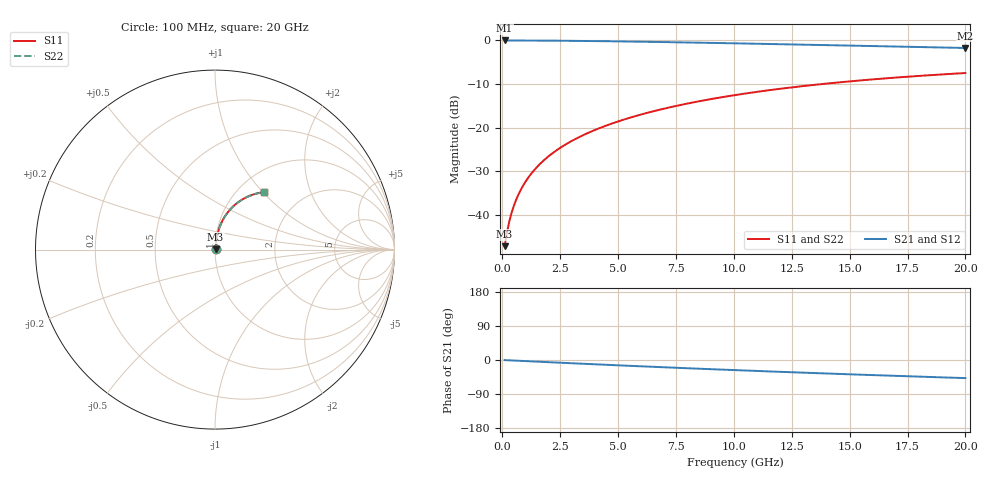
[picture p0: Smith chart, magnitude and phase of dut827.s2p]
! Touchstone file exported from HFSS 2024.1.0
!  File:  C:/UserFiles/LocalFiles/RDL_TSV_Batchsim/temp_RDL_bottom_827_1779863039.aedt
!  Generated:  02:26:50 PM May 27, 2026
!  Design:  RDL_bottom
!  Project:  temp_RDL_bottom_827_1779863039
!  Setup:  Setup1
!  Solution:  Sweep
! Variables:
!  dtsv = 10.80580581um
!  hbump = 3um
!  htsv = 83.68um
!  ldown = 692.65um
!  lrdl = 100um
!  p = 40
!  p1 = 47.05um
!  rhole = 1um
!  t = 450um
!  tdown = 3.8um
!  trdl = 3.915915916um
!  wdown = 18.97um
!  wrdl = 20um
# GHz S MA R 50.000000
! Terminal data exported
! Port[1] = RDL1_T1
! Port[2] = RDL1_T2
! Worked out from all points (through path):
!   200 points, 100 MHz to 20 GHz, reference 50 ohm
!   highest |S21| = -0.03 dB at 100 MHz (marker M1); lowest = -1.8 dB at 20 GHz (marker M2)
!   group delay of S21, straight-line fit = 6.61 ps
!   lowest |S11| = -47.2 dB at 100 MHz (marker M3), VSWR 1.01, Z = 50.4 + j0.255 ohm
!   |S11| at or under -10 dB: start of sweep to 13.86 GHz
!   |S22| runs from -47.2 to -7.5 dB; largest |S21 - S12| = 1.4e-14
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0.1  0.004365 35.5  0.9964 -0.3  0.9964 -0.3  0.004365 35.5
! Gamma 0 0 0 0
! Port Impedance 50 0 50 0
0.2  0.006223 53.3  0.9963 -0.6  0.9963 -0.6  0.006223 53.3
0.3  0.008333 62.1  0.9961 -0.9  0.9961 -0.9  0.008333 62.1
0.4  0.0105 67.2  0.9959 -1.2  0.9959 -1.2  0.0105 67.2
0.5  0.0127 70.5  0.9957 -1.5  0.9957 -1.5  0.0127 70.5
0.6  0.01491 72.9  0.9955 -1.8  0.9955 -1.8  0.01491 72.9
0.8  0.01937 76.1  0.9951 -2.3  0.9951 -2.3  0.01937 76.1
1.1  0.02616 78.8  0.9944 -3.2  0.9944 -3.2  0.02616 78.8
1.3  0.03073 79.8  0.9939 -3.8  0.9939 -3.8  0.03073 79.8
1.6  0.03762 80.8  0.993 -4.6  0.993 -4.6  0.03762 80.8
2.1  0.0492 81.5  0.9911 -6.0  0.9911 -6.0  0.0492 81.5
2.7  0.06318 81.6  0.9883 -7.7  0.9883 -7.7  0.06318 81.5
3.5  0.08196 81.0  0.9837 -10.0  0.9837 -10.0  0.08195 81.0
4.2  0.0985 80.3  0.9789 -11.9  0.9789 -11.9  0.09848 80.2
5  0.1175 79.2  0.9727 -14.1  0.9727 -14.1  0.1175 79.1
5.9  0.1389 77.7  0.965 -16.4  0.965 -16.4  0.1388 77.7
6.8  0.1602 76.1  0.9568 -18.8  0.9568 -18.8  0.1602 76.1
8.4  0.1978 73.0  0.941 -22.8  0.941 -22.8  0.1977 73.0
10.1  0.2367 69.5  0.9233 -26.8  0.9233 -26.8  0.2366 69.5
13.4  0.3071 62.6  0.8876 -34.3  0.8876 -34.3  0.3069 62.5
16.7  0.369 55.8  0.8518 -41.3  0.8518 -41.3  0.3687 55.8
20  0.4216 49.4  0.8171 -47.8  0.8171 -47.8  0.4213 49.4
